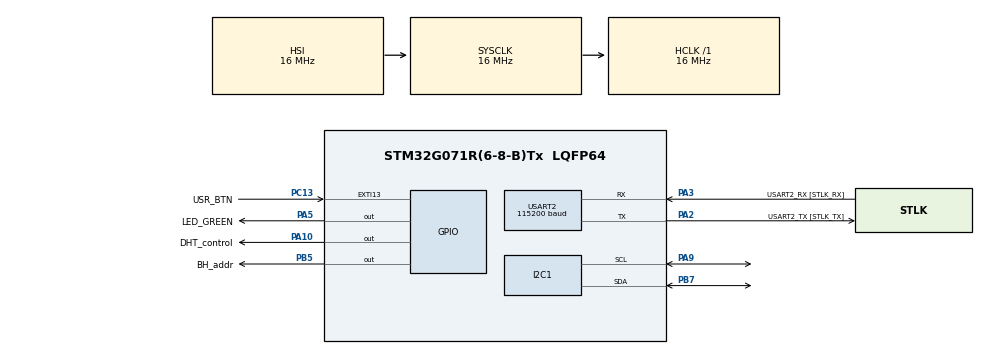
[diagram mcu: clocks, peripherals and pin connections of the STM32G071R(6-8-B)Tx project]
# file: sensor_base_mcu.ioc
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I2C1.Timing=0x00503D58
Mcu.Family=STM32G0
Mcu.Name=STM32G071R(6-8-B)Tx
Mcu.Package=LQFP64
NVIC.EXTI4_15_IRQn=true\:0\:0\:true\:false\:true\:true\:true\:true
PA10.GPIO_Label=DHT_control
PA10.Signal=GPIO_Output
PA13.GPIO_Label=TMS
PA13.Mode=Serial_Wire
PA13.Signal=SYS_SWDIO
PA14-BOOT0.GPIO_Label=TCK
PA14-BOOT0.Mode=Serial_Wire
PA14-BOOT0.Signal=SYS_SWCLK
PA2.GPIO_Label=USART2_TX [STLK_TX]
PA2.GPIO_PuPd=GPIO_PULLUP
PA2.Mode=Asynchronous
PA2.Signal=USART2_TX
PA3.GPIO_Label=USART2_RX [STLK_RX]
PA3.GPIO_PuPd=GPIO_PULLUP
PA3.Mode=Asynchronous
PA3.Signal=USART2_RX
PA5.GPIO_Label=LED_GREEN
PA5.GPIO_Speed=GPIO_SPEED_FREQ_HIGH
PA5.Signal=GPIO_Output
PA9.Mode=I2C
PA9.Signal=I2C1_SCL
PB5.GPIO_Label=BH_addr
PB5.Signal=GPIO_Output
PB7.Mode=I2C
PB7.Signal=I2C1_SDA
PC13.GPIO_Label=USR_BTN
PC13.GPIO_ModeDefaultEXTI=GPIO_MODE_IT_FALLING
PC13.Signal=GPXTI13
PC14-OSC32_IN\ (PC14).Mode=LSE-External-Oscillator
PC14-OSC32_IN\ (PC14).Signal=RCC_OSC32_IN
PC15-OSC32_OUT\ (PC15).Mode=LSE-External-Oscillator
PC15-OSC32_OUT\ (PC15).Signal=RCC_OSC32_OUT
PF0-OSC_IN\ (PF0).GPIO_Label=MCO
PF0-OSC_IN\ (PF0).Mode=HSE-External-Clock-Source
PF0-OSC_IN\ (PF0).Signal=RCC_OSC_IN
ProjectManager.HeapSize=0x200
ProjectManager.StackSize=0x400
ProjectManager.TargetToolchain=STM32CubeIDE
RCC.ADCFreq_Value=16000000
RCC.AHBFreq_Value=16000000
RCC.CortexFreq_Value=16000000
RCC.EXTERNAL_CLOCK_VALUE=12288000
RCC.HCLKFreq_Value=16000000
RCC.HSE_VALUE=8000000
RCC.HSI_VALUE=16000000
RCC.PLLN=12
RCC.PLLR=RCC_PLLR_DIV3
RCC.PLLSourceVirtual=RCC_PLLSOURCE_HSE
RCC.SYSCLKFreq_VALUE=16000000
RCC.VCOOutputFreq_Value=96000000
TIM6.Prescaler=15
USART2.BaudRate=115200
USART2.VirtualMode-Asynchronous=VM_ASYNC
VP_TIM6_VS_ClockSourceINT.Mode=Enable_Timer
board=NUCLEO-G071RB

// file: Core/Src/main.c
/* USER CODE BEGIN Header */
/**
  ******************************************************************************
  * @file           : main.c
  * @brief          : Main program body
  ******************************************************************************
  * @attention
  *
  * Copyright (c) 2026 STMicroelectronics.
  * All rights reserved.
  *
  * This software is licensed under terms that can be found in the LICENSE file
  * in the root directory of this software component.
  * If no LICENSE file comes with this software, it is provided AS-IS.
  *
  ******************************************************************************
  */
/* USER CODE END Header */
#include "main.h"
#include "i2c.h"
#include "tim.h"
#include "usart.h"
#include "gpio.h"

/* USER CODE BEGIN Includes */
#include <stdbool.h>
#include <stdio.h>
#include "dht11.h"
#include "bh1750.h"
#include "BMPXX80.h"
/* USER CODE END Includes */

/* USER CODE BEGIN PV */

volatile uint32_t led_ticks;
uint8_t btn_pressed_msg[]="Button pressed!";
DHT11_t DHT11 = {.GPIOx = DHT_control_GPIO_Port, .GPIO_Pin = DHT_control_Pin, .htim = &htim6};

/* USER CODE END PV */

void SystemClock_Config(void);
/* USER CODE BEGIN PFP */
void delay (uint16_t time);

/* USER CODE END PFP */

int main(void)
{

    /* MCU Configuration--------------------------------------------------------*/

    /* Reset of all peripherals, Initializes the Flash interface and the Systick. */
    HAL_Init();

    /* Configure the system clock */
    SystemClock_Config();

    /* Initialize all configured peripherals */
    MX_GPIO_Init();
    MX_USART2_UART_Init();
    MX_TIM6_Init();
    MX_I2C1_Init();
    /* USER CODE BEGIN 2 */

    SysTick_Config(SystemCoreClock / 1000);
    BH1750_CurrentAddress = (0x23 << 1);
    BH1750_Init(&hi2c1);
    BH1750_SetMode(CONTINUOUS_HIGH_RES_MODE);
    BH1750_CurrentAddress = (0x5C << 1);
    BH1750_Init(&hi2c1);
    BH1750_SetMode(CONTINUOUS_HIGH_RES_MODE);

    BMP280_Init(&hi2c1, BMP280_TEMPERATURE_16BIT, BMP280_STANDARD, BMP280_NORMALMODE);

    /* USER CODE END 2 */

    /* Infinite loop */
    while (1)
    {

        /* USER CODE BEGIN 3 */
        DHT11_Process(&DHT11);

        // blink
        if (led_ticks >= 2000)
        {
            led_ticks = 0;
            HAL_GPIO_TogglePin(LED_GREEN_GPIO_Port, LED_GREEN_Pin);

            float light1, light2;
            // (ADDR -> GND)
            BH1750_CurrentAddress = (0x23 << 1);
            BH1750_STATUS status1 = BH1750_ReadLight(&light1);
            //  (ADDR -> VCC)
            BH1750_CurrentAddress = (0x5C << 1);
            BH1750_STATUS status2 = BH1750_ReadLight(&light2);

            float pressure = BMP280_ReadPressure();

            if (status1 == BH1750_OK && status2 == BH1750_OK)
            {
                char msg[128];
                int len = sprintf(msg, "T%d|H%d|P%d|L_V%d|L_G%d\r\n",
                        DHT11.temperature,
                        DHT11.humidity,
                        (int)pressure,
                        (int)light2,
                        (int)light1);
                HAL_UART_Transmit(&huart2, (uint8_t*)msg, len, 100);
            }
            else
            {
                HAL_UART_Transmit(&huart2, (uint8_t*)"BH1750 [VCC&GND] Error!\r", 15, 100);
            }
        }
    }
    /* USER CODE END 3 */
}

void SystemClock_Config(void)
{
    RCC_OscInitTypeDef RCC_OscInitStruct = {0};
    RCC_ClkInitTypeDef RCC_ClkInitStruct = {0};

    /** Configure the main internal regulator output voltage
    */
    HAL_PWREx_ControlVoltageScaling(PWR_REGULATOR_VOLTAGE_SCALE1);

    /** Initializes the RCC Oscillators according to the specified parameters
    * in the RCC_OscInitTypeDef structure.
    */
    RCC_OscInitStruct.OscillatorType = RCC_OSCILLATORTYPE_HSI;
    RCC_OscInitStruct.HSIState = RCC_HSI_ON;
    RCC_OscInitStruct.HSIDiv = RCC_HSI_DIV1;
    RCC_OscInitStruct.HSICalibrationValue = RCC_HSICALIBRATION_DEFAULT;
    RCC_OscInitStruct.PLL.PLLState = RCC_PLL_NONE;
    if (HAL_RCC_OscConfig(&RCC_OscInitStruct) != HAL_OK)
    {
    Error_Handler();
    }

    /** Initializes the CPU, AHB and APB buses clocks
    */
    RCC_ClkInitStruct.ClockType = RCC_CLOCKTYPE_HCLK|RCC_CLOCKTYPE_SYSCLK
                              |RCC_CLOCKTYPE_PCLK1;
    RCC_ClkInitStruct.SYSCLKSource = RCC_SYSCLKSOURCE_HSI;
    RCC_ClkInitStruct.AHBCLKDivider = RCC_SYSCLK_DIV1;
    RCC_ClkInitStruct.APB1CLKDivider = RCC_HCLK_DIV1;

    if (HAL_RCC_ClockConfig(&RCC_ClkInitStruct, FLASH_LATENCY_0) != HAL_OK)
    {
    Error_Handler();
    }
}

/* USER CODE BEGIN 4 */
void delay (uint16_t time)
{
	/* change your code here for the delay in microseconds */
	__HAL_TIM_ENABLE(&htim6);
	__HAL_TIM_SET_COUNTER(&htim6, 0);
	while ((__HAL_TIM_GET_COUNTER(&htim6))<time);
	__HAL_TIM_DISABLE(&htim6);
}
/* USER CODE END 4 */

void Error_Handler(void)
{
  __disable_irq();
  while (1)
  {
  }
}
